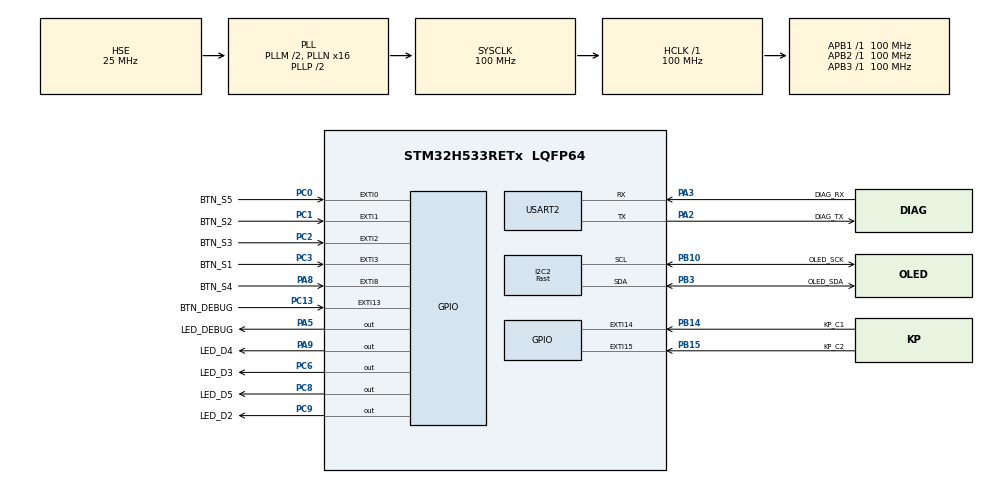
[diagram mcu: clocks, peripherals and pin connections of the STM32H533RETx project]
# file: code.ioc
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BOOTPATH.BootPathName=LEGACY
BOOTPATH.UserSelectedBootPath=LEGACY
CORTEX_M33_NS.Number-Cortex_Memory_Protection_Unit_Region0_OTP_RO_AREAS_Settings=MPU_REGION_NUMBER0
CORTEX_M33_NS.default_mode_Activation=1
CORTEX_M33_NS.userName=CORTEX_M33
I2C2.I2C_Speed_Mode=I2C_Fast
I2C2.Timing=0x009034B6
Mcu.Family=STM32H5
Mcu.Name=STM32H533RETx
Mcu.Package=LQFP64
NUCLEO-H533RE.LD4=false
NUCLEO-H533RE.VCP=false
NVIC.EXTI0_IRQn=true\:0\:0\:false\:false\:true\:true\:true\:true
NVIC.EXTI13_IRQn=true\:0\:0\:false\:false\:true\:true\:true\:true
NVIC.EXTI14_IRQn=true\:0\:0\:false\:false\:true\:true\:true\:true
NVIC.EXTI15_IRQn=true\:0\:0\:false\:false\:true\:true\:true\:true
NVIC.EXTI1_IRQn=true\:0\:0\:false\:false\:true\:true\:true\:true
NVIC.EXTI2_IRQn=true\:0\:0\:false\:false\:true\:true\:true\:true
NVIC.EXTI3_IRQn=true\:0\:0\:false\:false\:true\:true\:true\:true
NVIC.EXTI8_IRQn=true\:0\:0\:false\:false\:true\:true\:true\:true
NVIC.PriorityGroup=NVIC_PRIORITYGROUP_4
NVIC.RTC_IRQn=true\:0\:0\:false\:false\:true\:true\:true\:true
NVIC.TIM7_IRQn=true\:0\:0\:false\:false\:true\:true\:true\:true
NVIC.USART2_IRQn=true\:0\:0\:false\:false\:true\:true\:true\:true
PA13(JTMS/SWDIO).GPIO_Label=SWDIO
PA13(JTMS/SWDIO).Mode=Serial_Wire
PA13(JTMS/SWDIO).Signal=DEBUG_JTMS-SWDIO
PA14(JTCK/SWCLK).GPIO_Label=SWCLK
PA14(JTCK/SWCLK).Mode=Serial_Wire
PA14(JTCK/SWCLK).Signal=DEBUG_JTCK-SWCLK
PA2.GPIO_Label=DIAG_TX
PA2.Mode=Asynchronous
PA2.Signal=USART2_TX
PA3.GPIO_Label=DIAG_RX
PA3.Mode=Asynchronous
PA3.Signal=USART2_RX
PA5.GPIO_Label=LED_DEBUG
PA5.Signal=GPIO_Output
PA8.GPIO_Label=BTN_S4
PA8.GPIO_ModeDefaultEXTI=GPIO_MODE_IT_RISING
PA8.GPIO_PuPd=GPIO_PULLDOWN
PA8.Signal=GPXTI8
PA9.GPIO_Label=LED_D4
PA9.Signal=GPIO_Output
PB10.GPIO_Label=OLED_SCK
PB10.Mode=I2C
PB10.Signal=I2C2_SCL
PB14.GPIO_Label=KP_C1
PB14.Signal=GPXTI14
PB15.GPIO_Label=KP_C2
PB15.Signal=GPXTI15
PB3(JTDO/TRACESWO).GPIO_Label=OLED_SDA
PB3(JTDO/TRACESWO).Mode=I2C
PB3(JTDO/TRACESWO).Signal=I2C2_SDA
PC0.GPIO_Label=BTN_S5
PC0.GPIO_PuPd=GPIO_PULLDOWN
PC0.Signal=GPXTI0
PC1.GPIO_Label=BTN_S2
PC1.GPIO_PuPd=GPIO_PULLDOWN
PC1.Signal=GPXTI1
PC13.GPIO_Label=BTN_DEBUG
PC13.GPIO_ModeDefaultEXTI=GPIO_MODE_IT_FALLING
PC13.GPIO_PuPd=GPIO_PULLUP
PC13.Signal=GPXTI13
PC14-OSC32_IN(OSC32_IN).Mode=LSE-External-Oscillator
PC14-OSC32_IN(OSC32_IN).Signal=RCC_OSC32_IN
PC15-OSC32_OUT(OSC32_OUT).Mode=LSE-External-Oscillator
PC15-OSC32_OUT(OSC32_OUT).Signal=RCC_OSC32_OUT
PC2.GPIO_Label=BTN_S3
PC2.GPIO_PuPd=GPIO_PULLDOWN
PC2.Signal=GPXTI2
PC3.GPIO_Label=BTN_S1
PC3.GPIO_PuPd=GPIO_PULLDOWN
PC3.Signal=GPXTI3
PC6.GPIO_Label=LED_D3
PC6.Signal=GPIO_Output
PC8.GPIO_Label=LED_D5
PC8.Signal=GPIO_Output
PC9.GPIO_Label=LED_D2
PC9.Signal=GPIO_Output
PH0-OSC_IN(PH0).Mode=HSE-External-Oscillator
PH0-OSC_IN(PH0).Signal=RCC_OSC_IN
PH1-OSC_OUT(PH1).Mode=HSE-External-Oscillator
PH1-OSC_OUT(PH1).Signal=RCC_OSC_OUT
ProjectManager.HeapSize=0x200
ProjectManager.StackSize=0x400
ProjectManager.TargetToolchain=CMake
RCC.ADCFreq_Value=100000000
RCC.AHBFreq_Value=100000000
RCC.APB1Freq_Value=100000000
RCC.APB1TimFreq_Value=100000000
RCC.APB2Freq_Value=100000000
RCC.APB2TimFreq_Value=100000000
RCC.APB3Freq_Value=100000000
RCC.CSI_VALUE=4000000
RCC.CortexFreq_Value=100000000
RCC.EPOD_VALUE=25000000
RCC.HCLKFreq_Value=100000000
RCC.HSE_VALUE=25000000
RCC.HSI48_VALUE=48000000
RCC.HSI_VALUE=64000000
RCC.LSIRC_VALUE=32000
RCC.PLL2FRACN=0
RCC.PLL3FRACN=0
RCC.PLLFRACN=0
RCC.PLLM=2
RCC.PLLN=16
RCC.PLLSourceVirtual=RCC_PLL1_SOURCE_HSE
RCC.SYSCLKFreq_VALUE=100000000
RCC.SYSCLKSource=RCC_SYSCLKSOURCE_PLLCLK
RCC.USBFreq_Value=48000000
RCC.VCOOutputFreq_Value=200000000
RTC.BinMode=RTC_BINARY_NONE
RTC.Format=RTC_FORMAT_BIN
RTC.WakeUpClock-WakeUp=RTC_WAKEUPCLOCK_CK_SPRE_16BITS
TIM7.Prescaler=99
USART2.VirtualMode-Asynchronous=VM_ASYNC
VP_BOOTPATH_VS_BOOTPATH.Mode=BP_Activate
VP_CORTEX_M33_NS_VS_Hclk.Mode=Hclk_Mode
VP_ICACHE_VS_ICACHE.Mode=DirectMappedCache
VP_MEMORYMAP_VS_MEMORYMAP.Mode=CurAppReg
VP_NUCLEO-H533RE_VS_BSP_COMMON.Mode=COMMON
VP_PWR_VS_LPOM.Mode=PowerOptimisation
VP_PWR_VS_SECSignals.Mode=Security/Privilege
VP_RTC_VS_RTC_Activate.Mode=RTC_Enabled
VP_RTC_VS_RTC_Calendar.Mode=RTC_Calendar
VP_RTC_VS_RTC_WakeUp_intern.Mode=WakeUp
VP_TIM7_VS_ClockSourceINT.Mode=Enable_Timer
board=NUCLEO-H533RE

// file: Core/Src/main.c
/* USER CODE BEGIN Header */
/**
 ******************************************************************************
 * @file           : main.c
 * @brief          : Main program body
 ******************************************************************************
 * @attention
 *
 * Copyright (c) 2026 STMicroelectronics.
 * All rights reserved.
 *
 * This software is licensed under terms that can be found in the LICENSE file
 * in the root directory of this software component.
 * If no LICENSE file comes with this software, it is provided AS-IS.
 *
 ******************************************************************************
 */
/* USER CODE END Header */
#include "main.h"
#include "gpio.h"
#include "i2c.h"
#include "icache.h"
#include "rtc.h"
#include "tim.h"
#include "usart.h"

/* USER CODE BEGIN Includes */
#include "analytics.h"
#include "diagnostics.h"
#include "led.h"
#include "logging.h"
#include "ssd1306.h"
#include "ssd1306_fonts.h"
#include "system.h"
#include "telemetry.h"
#include "ui.h"
#include <stdio.h>
#include <string.h>

/* USER CODE END Includes */

/* USER CODE BEGIN PV */

volatile uint8_t time_update_flag = 0;
volatile uint8_t s3_flag = 0;

uint8_t logging_enabled = 1;

/* USER CODE END PV */

void SystemClock_Config(void);
static void MPU_Config(void);

/* USER CODE BEGIN 0 */
void HAL_RTCEx_WakeUpTimerEventCallback(RTC_HandleTypeDef *hrtc) {
  if (hrtc->Instance == RTC) {
    System_SetTimeUpdateFlag();
    Logging_SetLoggingUpdate();
  }
}

void HAL_GPIO_EXTI_Callback(uint16_t GPIO_Pin) {
  if (GPIO_Pin == BTN_S3_Pin) {
    s3_flag = 1;
  }
  if (GPIO_Pin == BTN_DEBUG_Pin) {
    System_ToggleDebugging();
    LED_SetState(LED_DEBUG,
                 System_IsDebugging() ? LED_STATE_ON : LED_STATE_OFF);
  }
}

/* USER CODE END 0 */

int main(void) {

  /* MCU Configuration--------------------------------------------------------*/

  /* MPU Configuration--------------------------------------------------------*/
  MPU_Config();

  /* Reset of all peripherals, Initializes the Flash interface and the Systick.
   */
  HAL_Init();

  /* Configure the system clock */
  SystemClock_Config();

  /* Initialize all configured peripherals */
  MX_GPIO_Init();
  MX_I2C2_Init();
  MX_ICACHE_Init();
  MX_RTC_Init();
  MX_USART2_UART_Init();
  MX_TIM7_Init();
  /* USER CODE BEGIN 2 */
  // TODO: Move any initialization code to application.c
  System_Init();
  Telemetry_Init();
  UI_Init();
  Diagnostics_Init();
  Analytics_Init();

  /* USER CODE END 2 */

  /* Infinite loop */
  /* USER CODE BEGIN WHILE */
  while (1) {
    // ==========================================
    // STEP 1: Process UI Inputs (Buttons & Keypad)
    // ==========================================
    // TODO: Move any input processing code to application.c
    System_LoopBegin();
    UI_Button_Process();
    UI_Keypad_Process();

    // ==========================================
    // STEP 2: Process System Background Tasks
    // ==========================================
    Diagnostics_Process();
    Analytics_Process();
    Logging_Process();

    // ==========================================
    // STEP 3: Drive Hardware Outputs
    // ==========================================
    UI_OLED_Process();
    UI_LED_Process();
    System_LoopEnd();

    /* USER CODE END WHILE */

  }
}

void SystemClock_Config(void) {
  RCC_OscInitTypeDef RCC_OscInitStruct = {0};
  RCC_ClkInitTypeDef RCC_ClkInitStruct = {0};

  /** Configure the main internal regulator output voltage
   */
  __HAL_PWR_VOLTAGESCALING_CONFIG(PWR_REGULATOR_VOLTAGE_SCALE3);

  while (!__HAL_PWR_GET_FLAG(PWR_FLAG_VOSRDY)) {
  }

  /** Initializes the RCC Oscillators according to the specified parameters
   * in the RCC_OscInitTypeDef structure.
   */
  RCC_OscInitStruct.OscillatorType =
      RCC_OSCILLATORTYPE_LSI | RCC_OSCILLATORTYPE_HSE;
  RCC_OscInitStruct.HSEState = RCC_HSE_ON;
  RCC_OscInitStruct.LSIState = RCC_LSI_ON;
  RCC_OscInitStruct.PLL.PLLState = RCC_PLL_ON;
  RCC_OscInitStruct.PLL.PLLSource = RCC_PLL1_SOURCE_HSE;
  RCC_OscInitStruct.PLL.PLLM = 2;
  RCC_OscInitStruct.PLL.PLLN = 16;
  RCC_OscInitStruct.PLL.PLLP = 2;
  RCC_OscInitStruct.PLL.PLLQ = 2;
  RCC_OscInitStruct.PLL.PLLR = 2;
  RCC_OscInitStruct.PLL.PLLRGE = RCC_PLL1_VCIRANGE_3;
  RCC_OscInitStruct.PLL.PLLVCOSEL = RCC_PLL1_VCORANGE_WIDE;
  RCC_OscInitStruct.PLL.PLLFRACN = 0;
  if (HAL_RCC_OscConfig(&RCC_OscInitStruct) != HAL_OK) {
    Error_Handler();
  }

  /** Initializes the CPU, AHB and APB buses clocks
   */
  RCC_ClkInitStruct.ClockType = RCC_CLOCKTYPE_HCLK | RCC_CLOCKTYPE_SYSCLK |
                                RCC_CLOCKTYPE_PCLK1 | RCC_CLOCKTYPE_PCLK2 |
                                RCC_CLOCKTYPE_PCLK3;
  RCC_ClkInitStruct.SYSCLKSource = RCC_SYSCLKSOURCE_PLLCLK;
  RCC_ClkInitStruct.AHBCLKDivider = RCC_SYSCLK_DIV1;
  RCC_ClkInitStruct.APB1CLKDivider = RCC_HCLK_DIV1;
  RCC_ClkInitStruct.APB2CLKDivider = RCC_HCLK_DIV1;
  RCC_ClkInitStruct.APB3CLKDivider = RCC_HCLK_DIV1;

  if (HAL_RCC_ClockConfig(&RCC_ClkInitStruct, FLASH_LATENCY_4) != HAL_OK) {
    Error_Handler();
  }

  /** Configure the programming delay
   */
  __HAL_FLASH_SET_PROGRAM_DELAY(FLASH_PROGRAMMING_DELAY_2);
}

/* MPU Configuration */

void MPU_Config(void) {
  MPU_Region_InitTypeDef MPU_InitStruct = {0};
  MPU_Attributes_InitTypeDef MPU_AttributesInit = {0};

  /* Disables the MPU */
  HAL_MPU_Disable();

  /** Initializes and configures the Region 0 and the memory to be protected
   */
  MPU_InitStruct.Enable = MPU_REGION_ENABLE;
  MPU_InitStruct.Number = MPU_REGION_NUMBER0;
  MPU_InitStruct.BaseAddress = 0x08FFF000;
  MPU_InitStruct.LimitAddress = 0x08FFFFFF;
  MPU_InitStruct.AttributesIndex = MPU_ATTRIBUTES_NUMBER0;
  MPU_InitStruct.AccessPermission = MPU_REGION_ALL_RO;
  MPU_InitStruct.DisableExec = MPU_INSTRUCTION_ACCESS_DISABLE;
  MPU_InitStruct.IsShareable = MPU_ACCESS_NOT_SHAREABLE;

  HAL_MPU_ConfigRegion(&MPU_InitStruct);

  /** Initializes and configures the Attribute 0 and the memory to be protected
   */
  MPU_AttributesInit.Number = MPU_ATTRIBUTES_NUMBER0;
  MPU_AttributesInit.Attributes = INNER_OUTER(MPU_NOT_CACHEABLE);

  HAL_MPU_ConfigMemoryAttributes(&MPU_AttributesInit);
  /* Enables the MPU */
  HAL_MPU_Enable(MPU_PRIVILEGED_DEFAULT);
}

void Error_Handler(void) {
  __disable_irq();
  while (1) {
  }
}
#ifdef USE_FULL_ASSERT
/**
 * @brief  Reports the name of the source file and the source line number
 *         where the assert_param error has occurred.
 * @param  file: pointer to the source file name
 * @param  line: assert_param error line source number
 * @retval None
 */
void assert_failed(uint8_t *file, uint32_t line) {
  /* USER CODE BEGIN 6 */
  /* User can add his own implementation to report the file name and line
     number, ex: printf("Wrong parameters value: file %s on line %d\r\n", file,
     line) */
  /* USER CODE END 6 */
}
#endif /* USE_FULL_ASSERT */
